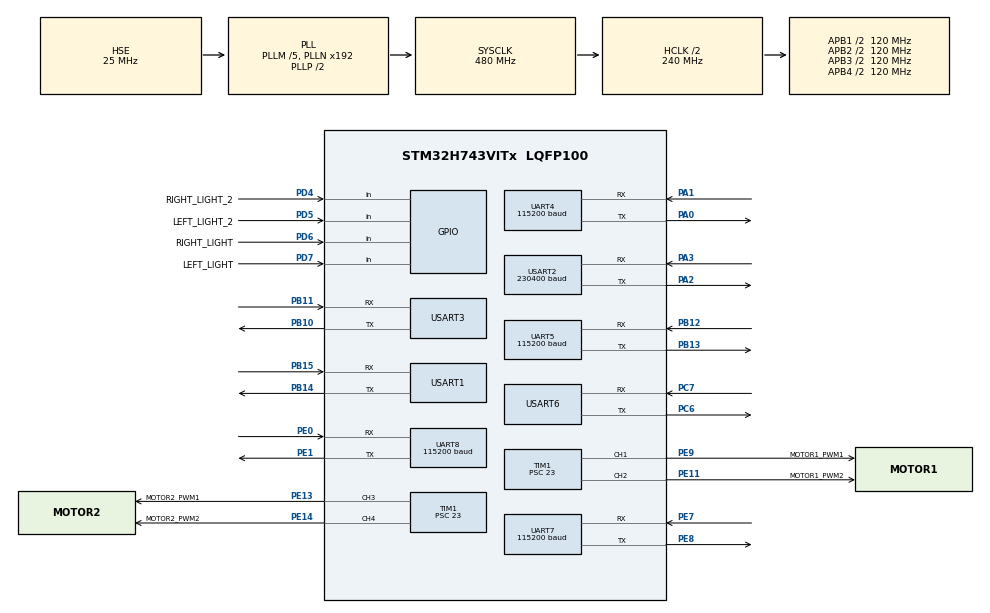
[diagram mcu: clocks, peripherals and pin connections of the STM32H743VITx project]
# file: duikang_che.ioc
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CORTEX_M7.AccessPermission_Spec=MPU_REGION_FULL_ACCESS
CORTEX_M7.BaseAddress_Spec=0x30000000
CORTEX_M7.CPU_DCache=Enabled
CORTEX_M7.CPU_ICache=Enabled
CORTEX_M7.DisableExec_Spec=MPU_INSTRUCTION_ACCESS_ENABLE
CORTEX_M7.Size_Spec=MPU_REGION_SIZE_128KB
CORTEX_M7.SubRegionDisable_Spec=0x00
CORTEX_M7.TypeExtField_Spec=MPU_TEX_LEVEL1
CORTEX_M7.default_mode_Activation=1
Dma.Request0=USART2_RX
Dma.Request1=UART4_RX
Dma.Request2=UART5_RX
Dma.Request3=UART7_RX
Dma.Request4=UART8_RX
Dma.Request5=USART1_RX
Dma.Request6=USART3_RX
Dma.Request7=USART6_TX
Dma.Request8=USART6_RX
Dma.UART4_RX.1.Direction=DMA_PERIPH_TO_MEMORY
Dma.UART4_RX.1.EventEnable=DISABLE
Dma.UART4_RX.1.FIFOMode=DMA_FIFOMODE_DISABLE
Dma.UART4_RX.1.Instance=DMA1_Stream1
Dma.UART4_RX.1.MemDataAlignment=DMA_MDATAALIGN_BYTE
Dma.UART4_RX.1.MemInc=DMA_MINC_ENABLE
Dma.UART4_RX.1.Mode=DMA_CIRCULAR
Dma.UART4_RX.1.PeriphDataAlignment=DMA_PDATAALIGN_BYTE
Dma.UART4_RX.1.PeriphInc=DMA_PINC_DISABLE
Dma.UART4_RX.1.Polarity=HAL_DMAMUX_REQ_GEN_RISING
Dma.UART4_RX.1.Priority=DMA_PRIORITY_VERY_HIGH
Dma.UART4_RX.1.RequestNumber=1
Dma.UART4_RX.1.SignalID=NONE
Dma.UART4_RX.1.SyncEnable=DISABLE
Dma.UART4_RX.1.SyncPolarity=HAL_DMAMUX_SYNC_NO_EVENT
Dma.UART4_RX.1.SyncRequestNumber=1
Dma.UART4_RX.1.SyncSignalID=NONE
Dma.UART5_RX.2.Direction=DMA_PERIPH_TO_MEMORY
Dma.UART5_RX.2.EventEnable=DISABLE
Dma.UART5_RX.2.FIFOMode=DMA_FIFOMODE_DISABLE
Dma.UART5_RX.2.Instance=DMA1_Stream2
Dma.UART5_RX.2.MemDataAlignment=DMA_MDATAALIGN_BYTE
Dma.UART5_RX.2.MemInc=DMA_MINC_ENABLE
Dma.UART5_RX.2.Mode=DMA_CIRCULAR
Dma.UART5_RX.2.PeriphDataAlignment=DMA_PDATAALIGN_BYTE
Dma.UART5_RX.2.PeriphInc=DMA_PINC_DISABLE
Dma.UART5_RX.2.Polarity=HAL_DMAMUX_REQ_GEN_RISING
Dma.UART5_RX.2.Priority=DMA_PRIORITY_VERY_HIGH
Dma.UART5_RX.2.RequestNumber=1
Dma.UART5_RX.2.SignalID=NONE
Dma.UART5_RX.2.SyncEnable=DISABLE
Dma.UART5_RX.2.SyncPolarity=HAL_DMAMUX_SYNC_NO_EVENT
Dma.UART5_RX.2.SyncRequestNumber=1
Dma.UART5_RX.2.SyncSignalID=NONE
Dma.UART7_RX.3.Direction=DMA_PERIPH_TO_MEMORY
Dma.UART7_RX.3.EventEnable=DISABLE
Dma.UART7_RX.3.FIFOMode=DMA_FIFOMODE_DISABLE
Dma.UART7_RX.3.Instance=DMA1_Stream3
Dma.UART7_RX.3.MemDataAlignment=DMA_MDATAALIGN_BYTE
Dma.UART7_RX.3.MemInc=DMA_MINC_ENABLE
Dma.UART7_RX.3.Mode=DMA_CIRCULAR
Dma.UART7_RX.3.PeriphDataAlignment=DMA_PDATAALIGN_BYTE
Dma.UART7_RX.3.PeriphInc=DMA_PINC_DISABLE
Dma.UART7_RX.3.Polarity=HAL_DMAMUX_REQ_GEN_RISING
Dma.UART7_RX.3.Priority=DMA_PRIORITY_VERY_HIGH
Dma.UART7_RX.3.RequestNumber=1
Dma.UART7_RX.3.SignalID=NONE
Dma.UART7_RX.3.SyncEnable=DISABLE
Dma.UART7_RX.3.SyncPolarity=HAL_DMAMUX_SYNC_NO_EVENT
Dma.UART7_RX.3.SyncRequestNumber=1
Dma.UART7_RX.3.SyncSignalID=NONE
Dma.UART8_RX.4.Direction=DMA_PERIPH_TO_MEMORY
Dma.UART8_RX.4.EventEnable=DISABLE
Dma.UART8_RX.4.FIFOMode=DMA_FIFOMODE_DISABLE
Dma.UART8_RX.4.Instance=DMA1_Stream4
Dma.UART8_RX.4.MemDataAlignment=DMA_MDATAALIGN_BYTE
Dma.UART8_RX.4.MemInc=DMA_MINC_ENABLE
Dma.UART8_RX.4.Mode=DMA_CIRCULAR
Dma.UART8_RX.4.PeriphDataAlignment=DMA_PDATAALIGN_BYTE
Dma.UART8_RX.4.PeriphInc=DMA_PINC_DISABLE
Dma.UART8_RX.4.Polarity=HAL_DMAMUX_REQ_GEN_RISING
Dma.UART8_RX.4.Priority=DMA_PRIORITY_VERY_HIGH
Dma.UART8_RX.4.RequestNumber=1
Dma.UART8_RX.4.SignalID=NONE
Dma.UART8_RX.4.SyncEnable=DISABLE
Dma.UART8_RX.4.SyncPolarity=HAL_DMAMUX_SYNC_NO_EVENT
Dma.UART8_RX.4.SyncRequestNumber=1
Dma.UART8_RX.4.SyncSignalID=NONE
Dma.USART1_RX.5.Direction=DMA_PERIPH_TO_MEMORY
Dma.USART1_RX.5.EventEnable=DISABLE
Dma.USART1_RX.5.FIFOMode=DMA_FIFOMODE_DISABLE
Dma.USART1_RX.5.Instance=DMA1_Stream5
Dma.USART1_RX.5.MemDataAlignment=DMA_MDATAALIGN_BYTE
Dma.USART1_RX.5.MemInc=DMA_MINC_ENABLE
Dma.USART1_RX.5.Mode=DMA_CIRCULAR
Dma.USART1_RX.5.PeriphDataAlignment=DMA_PDATAALIGN_BYTE
Dma.USART1_RX.5.PeriphInc=DMA_PINC_DISABLE
Dma.USART1_RX.5.Polarity=HAL_DMAMUX_REQ_GEN_RISING
Dma.USART1_RX.5.Priority=DMA_PRIORITY_VERY_HIGH
Dma.USART1_RX.5.RequestNumber=1
Dma.USART1_RX.5.SignalID=NONE
Dma.USART1_RX.5.SyncEnable=DISABLE
Dma.USART1_RX.5.SyncPolarity=HAL_DMAMUX_SYNC_NO_EVENT
Dma.USART1_RX.5.SyncRequestNumber=1
Dma.USART1_RX.5.SyncSignalID=NONE
Dma.USART2_RX.0.Direction=DMA_PERIPH_TO_MEMORY
Dma.USART2_RX.0.EventEnable=DISABLE
Dma.USART2_RX.0.FIFOMode=DMA_FIFOMODE_DISABLE
Dma.USART2_RX.0.Instance=DMA1_Stream0
Dma.USART2_RX.0.MemDataAlignment=DMA_MDATAALIGN_BYTE
Dma.USART2_RX.0.MemInc=DMA_MINC_ENABLE
Dma.USART2_RX.0.Mode=DMA_CIRCULAR
Dma.USART2_RX.0.PeriphDataAlignment=DMA_PDATAALIGN_BYTE
Dma.USART2_RX.0.PeriphInc=DMA_PINC_DISABLE
Dma.USART2_RX.0.Polarity=HAL_DMAMUX_REQ_GEN_RISING
Dma.USART2_RX.0.Priority=DMA_PRIORITY_VERY_HIGH
Dma.USART2_RX.0.RequestNumber=1
Dma.USART2_RX.0.SignalID=NONE
Dma.USART2_RX.0.SyncEnable=DISABLE
Dma.USART2_RX.0.SyncPolarity=HAL_DMAMUX_SYNC_NO_EVENT
Dma.USART2_RX.0.SyncRequestNumber=1
Dma.USART2_RX.0.SyncSignalID=NONE
Dma.USART3_RX.6.Direction=DMA_PERIPH_TO_MEMORY
Dma.USART3_RX.6.EventEnable=DISABLE
Dma.USART3_RX.6.FIFOMode=DMA_FIFOMODE_DISABLE
Dma.USART3_RX.6.Instance=DMA1_Stream6
Dma.USART3_RX.6.MemDataAlignment=DMA_MDATAALIGN_BYTE
Dma.USART3_RX.6.MemInc=DMA_MINC_ENABLE
Dma.USART3_RX.6.Mode=DMA_CIRCULAR
Dma.USART3_RX.6.PeriphDataAlignment=DMA_PDATAALIGN_BYTE
Dma.USART3_RX.6.PeriphInc=DMA_PINC_DISABLE
Dma.USART3_RX.6.Polarity=HAL_DMAMUX_REQ_GEN_RISING
Dma.USART3_RX.6.Priority=DMA_PRIORITY_VERY_HIGH
Dma.USART3_RX.6.RequestNumber=1
Dma.USART3_RX.6.SignalID=NONE
Dma.USART3_RX.6.SyncEnable=DISABLE
Dma.USART3_RX.6.SyncPolarity=HAL_DMAMUX_SYNC_NO_EVENT
Dma.USART3_RX.6.SyncRequestNumber=1
Dma.USART3_RX.6.SyncSignalID=NONE
Dma.USART6_RX.8.Direction=DMA_PERIPH_TO_MEMORY
Dma.USART6_RX.8.EventEnable=DISABLE
Dma.USART6_RX.8.FIFOMode=DMA_FIFOMODE_DISABLE
Dma.USART6_RX.8.Instance=DMA2_Stream0
Dma.USART6_RX.8.MemDataAlignment=DMA_MDATAALIGN_BYTE
Dma.USART6_RX.8.MemInc=DMA_MINC_ENABLE
Dma.USART6_RX.8.Mode=DMA_NORMAL
Dma.USART6_RX.8.PeriphDataAlignment=DMA_PDATAALIGN_BYTE
Dma.USART6_RX.8.PeriphInc=DMA_PINC_DISABLE
Dma.USART6_RX.8.Polarity=HAL_DMAMUX_REQ_GEN_RISING
Dma.USART6_RX.8.Priority=DMA_PRIORITY_LOW
Dma.USART6_RX.8.RequestNumber=1
Dma.USART6_RX.8.SignalID=NONE
Dma.USART6_RX.8.SyncEnable=DISABLE
Dma.USART6_RX.8.SyncPolarity=HAL_DMAMUX_SYNC_NO_EVENT
Dma.USART6_RX.8.SyncRequestNumber=1
Dma.USART6_RX.8.SyncSignalID=NONE
Dma.USART6_TX.7.Direction=DMA_MEMORY_TO_PERIPH
Dma.USART6_TX.7.EventEnable=DISABLE
Dma.USART6_TX.7.FIFOMode=DMA_FIFOMODE_DISABLE
Dma.USART6_TX.7.Instance=DMA1_Stream7
Dma.USART6_TX.7.MemDataAlignment=DMA_MDATAALIGN_BYTE
Dma.USART6_TX.7.MemInc=DMA_MINC_ENABLE
Dma.USART6_TX.7.Mode=DMA_NORMAL
Dma.USART6_TX.7.PeriphDataAlignment=DMA_PDATAALIGN_BYTE
Dma.USART6_TX.7.PeriphInc=DMA_PINC_DISABLE
Dma.USART6_TX.7.Polarity=HAL_DMAMUX_REQ_GEN_RISING
Dma.USART6_TX.7.Priority=DMA_PRIORITY_LOW
Dma.USART6_TX.7.RequestNumber=1
Dma.USART6_TX.7.SignalID=NONE
Dma.USART6_TX.7.SyncEnable=DISABLE
Dma.USART6_TX.7.SyncPolarity=HAL_DMAMUX_SYNC_NO_EVENT
Dma.USART6_TX.7.SyncRequestNumber=1
Dma.USART6_TX.7.SyncSignalID=NONE
FREERTOS.Tasks01=MainTask,24,512,StartMainTask,Default,NULL,Dynamic,NULL,NULL;SensorTask,24,512,StartSensorTask,Default,NULL,Dynamic,NULL,NULL;DangerTask,40,2048,StartDangerTask,Default,NULL,Dynamic,NULL,NULL;StageTask,40,1024,StartStageTask,Default,NULL,Dynamic,NULL,NULL;TrainLogTask,24,1024,StartTrainLogTask,Default,NULL,Dynamic,NULL,NULL
Mcu.Family=STM32H7
Mcu.Name=STM32H743VITx
Mcu.Package=LQFP100
NVIC.DMA1_Stream0_IRQn=true\:5\:0\:false\:false\:true\:true\:false\:true\:true
NVIC.DMA1_Stream1_IRQn=true\:5\:0\:false\:false\:true\:true\:false\:true\:true
NVIC.DMA1_Stream2_IRQn=true\:5\:0\:false\:false\:true\:true\:false\:true\:true
NVIC.DMA1_Stream3_IRQn=true\:5\:0\:false\:false\:true\:true\:false\:true\:true
NVIC.DMA1_Stream4_IRQn=true\:5\:0\:false\:false\:true\:true\:false\:true\:true
NVIC.DMA1_Stream5_IRQn=true\:5\:0\:false\:false\:true\:true\:false\:true\:true
NVIC.DMA1_Stream6_IRQn=true\:5\:0\:false\:false\:true\:true\:false\:true\:true
NVIC.DMA1_Stream7_IRQn=true\:5\:0\:false\:false\:true\:true\:false\:true\:true
NVIC.DMA2_Stream0_IRQn=true\:5\:0\:false\:false\:true\:true\:false\:true\:true
NVIC.PriorityGroup=NVIC_PRIORITYGROUP_4
NVIC.TIM2_IRQn=true\:15\:0\:false\:false\:true\:false\:false\:true\:true
NVIC.TimeBase=TIM2_IRQn
NVIC.TimeBaseIP=TIM2
NVIC.UART4_IRQn=true\:5\:0\:false\:false\:true\:true\:true\:true\:true
NVIC.UART5_IRQn=true\:5\:0\:false\:false\:true\:true\:true\:true\:true
NVIC.UART7_IRQn=true\:5\:0\:false\:false\:true\:true\:true\:true\:true
NVIC.UART8_IRQn=true\:5\:0\:false\:false\:true\:true\:true\:true\:true
NVIC.USART1_IRQn=true\:5\:0\:false\:false\:true\:true\:true\:true\:true
NVIC.USART2_IRQn=true\:5\:0\:false\:false\:true\:true\:true\:true\:true
NVIC.USART3_IRQn=true\:5\:0\:false\:false\:true\:true\:true\:true\:true
NVIC.USART6_IRQn=true\:5\:0\:false\:false\:true\:true\:true\:true\:true
PA0.Mode=Asynchronous
PA0.Signal=UART4_TX
PA1.Mode=Asynchronous
PA1.Signal=UART4_RX
PA2.Mode=Asynchronous
PA2.Signal=USART2_TX
PA3.Mode=Asynchronous
PA3.Signal=USART2_RX
PB10.Mode=Asynchronous
PB10.Signal=USART3_TX
PB11.Mode=Asynchronous
PB11.Signal=USART3_RX
PB12.Mode=Asynchronous
PB12.Signal=UART5_RX
PB13.Mode=Asynchronous
PB13.Signal=UART5_TX
PB14.Mode=Asynchronous
PB14.Signal=USART1_TX
PB15.Mode=Asynchronous
PB15.Signal=USART1_RX
PC14-OSC32_IN\ (OSC32_IN).Mode=LSE-External-Oscillator
PC14-OSC32_IN\ (OSC32_IN).Signal=RCC_OSC32_IN
PC15-OSC32_OUT\ (OSC32_OUT).Mode=LSE-External-Oscillator
PC15-OSC32_OUT\ (OSC32_OUT).Signal=RCC_OSC32_OUT
PC6.Mode=Asynchronous
PC6.Signal=USART6_TX
PC7.Mode=Asynchronous
PC7.Signal=USART6_RX
PD4.GPIO_Label=RIGHT_LIGHT_2
PD4.Signal=GPIO_Input
PD5.GPIO_Label=LEFT_LIGHT_2
PD5.Signal=GPIO_Input
PD6.GPIO_Label=RIGHT_LIGHT
PD6.Signal=GPIO_Input
PD7.GPIO_Label=LEFT_LIGHT
PD7.Signal=GPIO_Input
PE0.Mode=Asynchronous
PE0.Signal=UART8_RX
PE1.Mode=Asynchronous
PE1.Signal=UART8_TX
PE11.GPIO_Label=MOTOR1_PWM2
PE11.Signal=S_TIM1_CH2
PE13.GPIO_Label=MOTOR2_PWM1
PE13.Signal=S_TIM1_CH3
PE14.GPIO_Label=MOTOR2_PWM2
PE14.Signal=S_TIM1_CH4
PE7.Mode=Asynchronous
PE7.Signal=UART7_RX
PE8.Mode=Asynchronous
PE8.Signal=UART7_TX
PE9.GPIO_Label=MOTOR1_PWM1
PE9.Signal=S_TIM1_CH1
PH0-OSC_IN\ (PH0).Mode=HSE-External-Oscillator
PH0-OSC_IN\ (PH0).Signal=RCC_OSC_IN
PH1-OSC_OUT\ (PH1).Mode=HSE-External-Oscillator
PH1-OSC_OUT\ (PH1).Signal=RCC_OSC_OUT
ProjectManager.HeapSize=0x200
ProjectManager.StackSize=0x400
ProjectManager.TargetToolchain=MDK-ARM V5.32
RCC.ADCFreq_Value=50390625
RCC.APB1Freq_Value=120000000
RCC.APB2Freq_Value=120000000
RCC.APB3Freq_Value=120000000
RCC.APB4Freq_Value=120000000
RCC.CortexFreq_Value=480000000
RCC.D1PPRE=RCC_APB3_DIV2
RCC.D2PPRE1=RCC_APB1_DIV2
RCC.D2PPRE2=RCC_APB2_DIV2
RCC.D3PPRE=RCC_APB4_DIV2
RCC.DIVM1=5
RCC.DIVN1=192
RCC.HCLKFreq_Value=240000000
RCC.HPRE=RCC_HCLK_DIV2
RCC.PLLFRACN=0
RCC.PLLSourceVirtual=RCC_PLLSOURCE_HSE
RCC.SYSCLKFreq_VALUE=480000000
RCC.SYSCLKSource=RCC_SYSCLKSOURCE_PLLCLK
RCC.USBFreq_Value=480000000
SH.S_TIM1_CH1.0=TIM1_CH1,PWM Generation1 CH1
SH.S_TIM1_CH2.0=TIM1_CH2,PWM Generation2 CH2
SH.S_TIM1_CH3.0=TIM1_CH3,PWM Generation3 CH3
SH.S_TIM1_CH4.0=TIM1_CH4,PWM Generation4 CH4
TIM1.Channel-PWM\ Generation1\ CH1=TIM_CHANNEL_1
TIM1.Channel-PWM\ Generation2\ CH2=TIM_CHANNEL_2
TIM1.Channel-PWM\ Generation3\ CH3=TIM_CHANNEL_3
TIM1.Channel-PWM\ Generation4\ CH4=TIM_CHANNEL_4
TIM1.Period=999
TIM1.Prescaler=23
UART4.BaudRate=115200
UART5.BaudRate=115200
UART7.BaudRate=115200
UART8.BaudRate=115200
USART1.VirtualMode-Asynchronous=VM_ASYNC
USART2.BaudRate=230400
USART2.VirtualMode-Asynchronous=VM_ASYNC
USART3.VirtualMode-Asynchronous=VM_ASYNC
USART6.VirtualMode=VM_ASYNC
VP_FREERTOS_VS_CMSIS_V2.Mode=CMSIS_V2
VP_MEMORYMAP_VS_MEMORYMAP.Mode=CurAppReg
VP_SYS_VS_tim2.Mode=TIM2
VP_TIM1_VS_ClockSourceINT.Mode=Internal
board=custom

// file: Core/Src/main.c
/* USER CODE BEGIN Header */
/**
  ******************************************************************************
  * @file           : main.c
  * @brief          : Main program body
  ******************************************************************************
  * @attention
  *
  * Copyright (c) 2026 STMicroelectronics.
  * All rights reserved.
  *
  * This software is licensed under terms that can be found in the LICENSE file
  * in the root directory of this software component.
  * If no LICENSE file comes with this software, it is provided AS-IS.
  *
  ******************************************************************************
  */
/* USER CODE END Header */
#include "main.h"
#include "cmsis_os.h"
#include "dma.h"
#include "tim.h"
#include "usart.h"
#include "gpio.h"

/* USER CODE BEGIN Includes */

#include "Motor.h"

/* USER CODE END Includes */

void SystemClock_Config(void);
static void MPU_Config(void);
void MX_FREERTOS_Init(void);

/* USER CODE BEGIN 0 */

void debug_mode(void)
{
  Motor_SetSpeeds(100, 0);
  HAL_Delay(1000);
  Motor_SetSpeeds(-100, 0);
  HAL_Delay(1000);
  Motor_SetSpeeds(0, 100);
  HAL_Delay(1000);
  Motor_SetSpeeds(0, -100);

  while (1)
  {
    /* code */
  }

}

/* USER CODE END 0 */

int main(void)
{

  /* MPU Configuration--------------------------------------------------------*/
  MPU_Config();

  /* Enable the CPU Cache */

  /* Enable I-Cache---------------------------------------------------------*/
  SCB_EnableICache();

  /* Enable D-Cache---------------------------------------------------------*/
  SCB_EnableDCache();

  /* MCU Configuration--------------------------------------------------------*/

  /* Reset of all peripherals, Initializes the Flash interface and the Systick. */
  HAL_Init();

  /* Configure the system clock */
  SystemClock_Config();

  /* Initialize all configured peripherals */
  MX_GPIO_Init();
  MX_DMA_Init();
  MX_TIM1_Init();
  MX_USART2_UART_Init();
  MX_UART4_Init();
  MX_UART5_Init();
  MX_UART7_Init();
  MX_UART8_Init();
  MX_USART1_UART_Init();
  MX_USART3_UART_Init();
  MX_USART6_UART_Init();
  /* USER CODE BEGIN 2 */
  Motor_Init();
  // debug_mode();

  /* USER CODE END 2 */

  /* Init scheduler */
  osKernelInitialize();

  /* Call init function for freertos objects (in cmsis_os2.c) */
  MX_FREERTOS_Init();

  /* Start scheduler */
  osKernelStart();

  /* We should never get here as control is now taken by the scheduler */

  /* Infinite loop */
  while (1)
  {

  }
}

void SystemClock_Config(void)
{
  RCC_OscInitTypeDef RCC_OscInitStruct = {0};
  RCC_ClkInitTypeDef RCC_ClkInitStruct = {0};

  /** Supply configuration update enable
  */
  HAL_PWREx_ConfigSupply(PWR_LDO_SUPPLY);

  /** Configure the main internal regulator output voltage
  */
  __HAL_PWR_VOLTAGESCALING_CONFIG(PWR_REGULATOR_VOLTAGE_SCALE0);

  while(!__HAL_PWR_GET_FLAG(PWR_FLAG_VOSRDY)) {}

  /** Initializes the RCC Oscillators according to the specified parameters
  * in the RCC_OscInitTypeDef structure.
  */
  RCC_OscInitStruct.OscillatorType = RCC_OSCILLATORTYPE_HSE;
  RCC_OscInitStruct.HSEState = RCC_HSE_ON;
  RCC_OscInitStruct.PLL.PLLState = RCC_PLL_ON;
  RCC_OscInitStruct.PLL.PLLSource = RCC_PLLSOURCE_HSE;
  RCC_OscInitStruct.PLL.PLLM = 5;
  RCC_OscInitStruct.PLL.PLLN = 192;
  RCC_OscInitStruct.PLL.PLLP = 2;
  RCC_OscInitStruct.PLL.PLLQ = 2;
  RCC_OscInitStruct.PLL.PLLR = 2;
  RCC_OscInitStruct.PLL.PLLRGE = RCC_PLL1VCIRANGE_2;
  RCC_OscInitStruct.PLL.PLLVCOSEL = RCC_PLL1VCOWIDE;
  RCC_OscInitStruct.PLL.PLLFRACN = 0;
  if (HAL_RCC_OscConfig(&RCC_OscInitStruct) != HAL_OK)
  {
    Error_Handler();
  }

  /** Initializes the CPU, AHB and APB buses clocks
  */
  RCC_ClkInitStruct.ClockType = RCC_CLOCKTYPE_HCLK|RCC_CLOCKTYPE_SYSCLK
                              |RCC_CLOCKTYPE_PCLK1|RCC_CLOCKTYPE_PCLK2
                              |RCC_CLOCKTYPE_D3PCLK1|RCC_CLOCKTYPE_D1PCLK1;
  RCC_ClkInitStruct.SYSCLKSource = RCC_SYSCLKSOURCE_PLLCLK;
  RCC_ClkInitStruct.SYSCLKDivider = RCC_SYSCLK_DIV1;
  RCC_ClkInitStruct.AHBCLKDivider = RCC_HCLK_DIV2;
  RCC_ClkInitStruct.APB3CLKDivider = RCC_APB3_DIV2;
  RCC_ClkInitStruct.APB1CLKDivider = RCC_APB1_DIV2;
  RCC_ClkInitStruct.APB2CLKDivider = RCC_APB2_DIV2;
  RCC_ClkInitStruct.APB4CLKDivider = RCC_APB4_DIV2;

  if (HAL_RCC_ClockConfig(&RCC_ClkInitStruct, FLASH_LATENCY_4) != HAL_OK)
  {
    Error_Handler();
  }
}

 /* MPU Configuration */

void MPU_Config(void)
{
  MPU_Region_InitTypeDef MPU_InitStruct = {0};

  /* Disables the MPU */
  HAL_MPU_Disable();

  /** Initializes and configures the Region and the memory to be protected
  */
  MPU_InitStruct.Enable = MPU_REGION_ENABLE;
  MPU_InitStruct.Number = MPU_REGION_NUMBER0;
  MPU_InitStruct.BaseAddress = 0x30000000;
  MPU_InitStruct.Size = MPU_REGION_SIZE_128KB;
  MPU_InitStruct.SubRegionDisable = 0x00;
  MPU_InitStruct.TypeExtField = MPU_TEX_LEVEL1;
  MPU_InitStruct.AccessPermission = MPU_REGION_FULL_ACCESS;
  MPU_InitStruct.DisableExec = MPU_INSTRUCTION_ACCESS_ENABLE;
  MPU_InitStruct.IsShareable = MPU_ACCESS_SHAREABLE;
  MPU_InitStruct.IsCacheable = MPU_ACCESS_NOT_CACHEABLE;
  MPU_InitStruct.IsBufferable = MPU_ACCESS_NOT_BUFFERABLE;

  HAL_MPU_ConfigRegion(&MPU_InitStruct);
  /* Enables the MPU */
  HAL_MPU_Enable(MPU_PRIVILEGED_DEFAULT);

}

void HAL_TIM_PeriodElapsedCallback(TIM_HandleTypeDef *htim)
{
  if (htim->Instance == TIM2) {
    HAL_IncTick();
  }
}

void Error_Handler(void)
{
  __disable_irq();
  while (1)
  {
  }
}

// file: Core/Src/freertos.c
/* USER CODE BEGIN Header */
/**
  ******************************************************************************
  * File Name          : freertos.c
  * Description        : Code for freertos applications
  ******************************************************************************
  * @attention
  *
  * Copyright (c) 2026 STMicroelectronics.
  * All rights reserved.
  *
  * This software is licensed under terms that can be found in the LICENSE file
  * in the root directory of this software component.
  * If no LICENSE file comes with this software, it is provided AS-IS.
  *
  ******************************************************************************
  */
/* USER CODE END Header */

#include "FreeRTOS.h"
#include "task.h"
#include "main.h"
#include "cmsis_os.h"

/* USER CODE BEGIN Includes */
#include "CombatCar_TuneConfig.h"
#include "Task_Danger.h"
#include "Task_Main.h"
#include "Task_Sensor.h"
#include "Task_Stage.h"
#include "Task_TrainLog.h"

/* USER CODE END Includes */

/* USER CODE BEGIN Variables */
volatile uint32_t g_freertos_stack_overflow_hit = 0U;
volatile uint32_t g_freertos_malloc_failed_hit = 0U;
volatile char g_freertos_stack_overflow_task[16] = {0};

/* USER CODE END Variables */
/* Definitions for MainTask */
osThreadId_t MainTaskHandle;
const osThreadAttr_t MainTask_attributes = {
  .name = "MainTask",
  .stack_size = 512 * 4,
  .priority = (osPriority_t) osPriorityNormal,
};
/* Definitions for SensorTask */
osThreadId_t SensorTaskHandle;
const osThreadAttr_t SensorTask_attributes = {
  .name = "SensorTask",
  .stack_size = 512 * 4,
  .priority = (osPriority_t) osPriorityNormal,
};
/* Definitions for DangerTask */
osThreadId_t DangerTaskHandle;
const osThreadAttr_t DangerTask_attributes = {
  .name = "DangerTask",
  .stack_size = 2048 * 4,
  .priority = (osPriority_t) osPriorityHigh,
};
/* Definitions for StageTask */
osThreadId_t StageTaskHandle;
const osThreadAttr_t StageTask_attributes = {
  .name = "StageTask",
  .stack_size = 1024 * 4,
  .priority = (osPriority_t) osPriorityHigh,
};
/* Definitions for TrainLogTask */
#if COMBATCAR_ENABLE_TRAINLOG != 0U
osThreadId_t TrainLogTaskHandle;
const osThreadAttr_t TrainLogTask_attributes = {
  .name = "TrainLogTask",
  .stack_size = 1024 * 4,
  .priority = (osPriority_t) osPriorityNormal,
};
#endif

void StartMainTask(void *argument);
void StartSensorTask(void *argument);
void StartDangerTask(void *argument);
void StartStageTask(void *argument);
#if COMBATCAR_ENABLE_TRAINLOG != 0U
void StartTrainLogTask(void *argument);
#endif

void MX_FREERTOS_Init(void); /* (MISRA C 2004 rule 8.1) */

void MX_FREERTOS_Init(void) {

  /* Create the thread(s) */
  /* creation of MainTask */
  MainTaskHandle = osThreadNew(StartMainTask, NULL, &MainTask_attributes);

  /* creation of SensorTask */
  SensorTaskHandle = osThreadNew(StartSensorTask, NULL, &SensorTask_attributes);

  /* creation of DangerTask */
  DangerTaskHandle = osThreadNew(StartDangerTask, NULL, &DangerTask_attributes);

  /* creation of StageTask */
  StageTaskHandle = osThreadNew(StartStageTask, NULL, &StageTask_attributes);

  /* creation of TrainLogTask */
#if COMBATCAR_ENABLE_TRAINLOG != 0U
  TrainLogTaskHandle = osThreadNew(StartTrainLogTask, NULL, &TrainLogTask_attributes);
#endif

}

void StartMainTask(void *argument)
{
  /* USER CODE BEGIN StartMainTask */
  Task_Main_Run(argument);
  /* USER CODE END StartMainTask */
}

void StartSensorTask(void *argument)
{
  /* USER CODE BEGIN StartSensorTask */
  Task_Sensor_Run(argument);
  /* USER CODE END StartSensorTask */
}

void StartDangerTask(void *argument)
{
  /* USER CODE BEGIN StartDangerTask */
  Task_Danger_Run(argument);
  /* USER CODE END StartDangerTask */
}

void StartStageTask(void *argument)
{
  /* USER CODE BEGIN StartStageTask */
  Task_Stage_Run(argument);
  /* USER CODE END StartStageTask */
}

#if COMBATCAR_ENABLE_TRAINLOG != 0U
void StartTrainLogTask(void *argument)
{
  /* USER CODE BEGIN StartTrainLogTask */
  Task_TrainLog_Run(argument);
  /* USER CODE END StartTrainLogTask */
}
#endif

/* USER CODE BEGIN Application */
void vApplicationStackOverflowHook(TaskHandle_t xTask, char *pcTaskName)
{
  uint8_t i;

  (void)xTask;
  g_freertos_stack_overflow_hit = 1U;
  for (i = 0U; i < (uint8_t)(sizeof(g_freertos_stack_overflow_task) - 1U); ++i)
  {
    if (pcTaskName == NULL || pcTaskName[i] == '\0')
    {
      break;
    }
    g_freertos_stack_overflow_task[i] = pcTaskName[i];
  }
  g_freertos_stack_overflow_task[i] = '\0';

  taskDISABLE_INTERRUPTS();
  for (;;)
  {
  }
}

void vApplicationMallocFailedHook(void)
{
  g_freertos_malloc_failed_hit = 1U;
  taskDISABLE_INTERRUPTS();
  for (;;)
  {
  }
}

/* USER CODE END Application */
